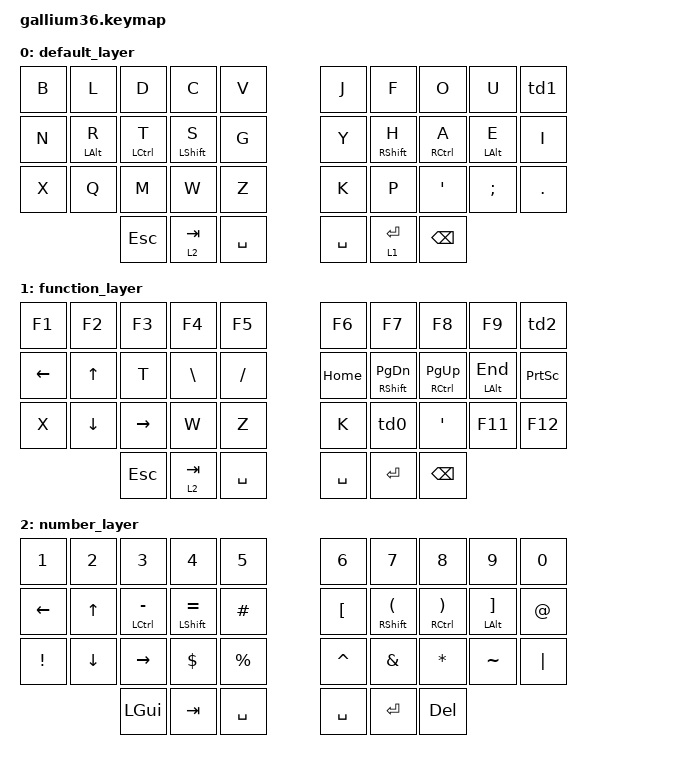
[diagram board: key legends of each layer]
#include <behaviors.dtsi>
#include <dt-bindings/zmk/keys.h>
#include <dt-bindings/zmk/bt.h>

&soft_off {
    hold-time-ms = <5000>;
};

#define TAPPING_TERM 220
#define QUICK_TAP_MS 150
#define PRIOR_IDLE 150
#define KEYS_L 0 1 2 3 4 10 11 12 13 14 20 21 22 23 24 // left hand
#define KEYS_R 5 6 7 8 9 15 16 17 18 19 25 26 27 28 29 // right hand
#define KEYS_THUMB 30 31 32 33 34 35

/ {
    behaviors {
        hm: homerow_mods {
            compatible = "zmk,behavior-hold-tap";
            #binding-cells = <2>;
            tapping-term-ms = <TAPPING_TERM>;
            quick-tap-ms = <QUICK_TAP_MS>;
            flavor = "balanced";
            bindings = <&kp>, <&kp>;
        };
        lhm: homerow_left {
            compatible = "zmk,behavior-hold-tap";
            #binding-cells = <2>;
            flavor = "balanced";
            tapping-term-ms = <TAPPING_TERM>;
            quick-tap-ms = <QUICK_TAP_MS>;
            bindings = <&kp>, <&kp>;
            hold-trigger-key-positions = <KEYS_R KEYS_THUMB>;
        };
        rhm: homerow_right {
            compatible = "zmk,behavior-hold-tap";
            #binding-cells = <2>;
            flavor = "balanced";
            tapping-term-ms = <TAPPING_TERM>;
            quick-tap-ms = <QUICK_TAP_MS>;
            bindings = <&kp>, <&kp>;
            hold-trigger-key-positions = <KEYS_L KEYS_THUMB>;
        };
        mo_kp: behavior_mo_tog {
            compatible = "zmk,behavior-hold-tap";
            #binding-cells = <2>;
            flavor = "hold-preferred";
            tapping-term-ms = <200>;
            bindings = <&mo>, <&kp>;
        };
        td0: tap_dance_0 {
            compatible = "zmk,behavior-tap-dance";
            #binding-cells = <0>;
            tapping-term-ms = <200>;
            bindings = <&kp P>, <&bt BT_SEL 0>, <&bt BT_SEL 1>;
        };
        td1: tap_dance_1 {
            compatible = "zmk,behavior-tap-dance";
            #binding-cells = <0>;
            tapping-term-ms = <200>;
            bindings = <&kp COMMA>, <&to 0>, <&to 1>;
        };
        td2: tap_dance_2 {
            compatible = "zmk,behavior-tap-dance";
            #binding-cells = <0>;
            tapping-term-ms = <200>;
            bindings = <&kp F10>, <&to 0>, <&to 1>;
        };
    };
    keymap {
        compatible = "zmk,keymap";

        // This is a sample keymap intended to be replaced with your own
        default_layer { // gallium homerow
            bindings = <
                &kp B &kp L       &kp D       &kp C        &kp V        &kp J        &kp F        &kp O        &kp U       &td1
                &kp N &lhm LALT R &lhm LCTRL T &lhm LSHFT S &kp G        &kp Y        &rhm RSHFT H &rhm RCTRL A &rhm LALT E &kp I
                &kp X &kp Q       &kp M       &kp W        &kp Z        &kp K        &kp P        &kp SQT      &kp SEMI    &kp DOT
                                  &kp ESC     &mo_kp 2 TAB &kp SPACE    &kp SPACE    &mo_kp 1 RET &kp BSPC
            >;
        };
        function_layer {
            bindings = <
                &kp F1   &kp F2   &kp F3    &kp F4       &kp F5    &kp F6    &kp F7           &kp F8           &kp F9        &td2
                &kp LEFT &kp UP   &kp T     &kp BSLH     &kp FSLH  &kp HOME  &rhm RSHFT PG_DN &rhm RCTRL PG_UP &rhm LALT END &kp PSCRN
                &kp X    &kp DOWN &kp RIGHT &kp W        &kp Z     &kp K     &td0             &kp SQT          &kp F11       &kp F12
                                  &kp ESC  &mo_kp 2 TAB &kp SPACE &kp SPACE &kp RET          &kp BSPC
            >;
        };
        number_layer {
            bindings = <
                &kp N1   &kp N2   &kp N3    &kp N4      &kp N5    &kp N6    &kp N7          &kp N8           &kp N9        &kp N0
                &kp LEFT &kp UP   &lhm LCTRL MINUS &lhm LSHIFT EQUAL  &kp HASH  &kp LBKT  &rhm RSHFT LPAR &rhm RCTRL RPAR &rhm LALT RBKT &kp AT
                &kp EXCL &kp DOWN &kp RIGHT &kp DLLR    &kp PRCNT &kp CARET &kp AMPS        &kp STAR         &kp TILDE     &kp PIPE
                                  &kp LGUI   &kp TAB     &kp SPACE &kp SPACE &kp RET         &kp DEL
            >;
        };
    };
    combos {
        compatible = "zmk,combos";
        combo_grave {
            timeout-ms = <40>;
            key-positions = <14 24>;
            bindings = <&kp GRAVE>;
        };
        combo_bootloader1 {
            timeout-ms = <100>;
            key-positions = <30 32>;
            bindings = <&bootloader>;
        };
        combo_bootloader2 {
            timeout-ms = <100>;
            key-positions = <33 35>;
            bindings = <&bootloader>;
        };
    };
};
